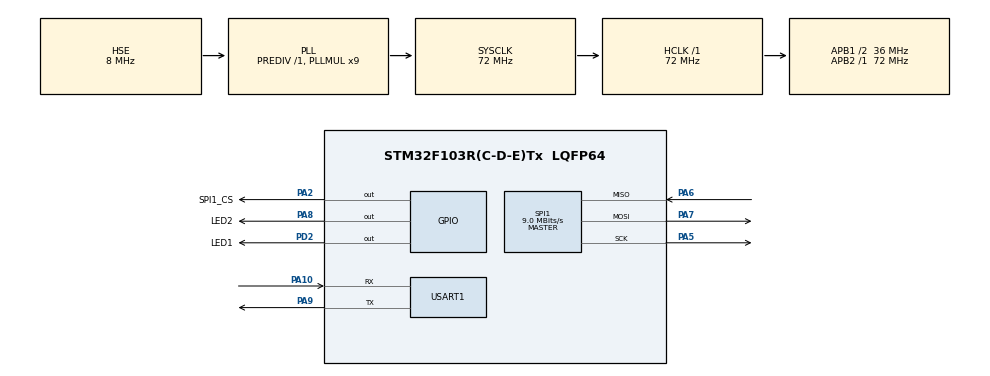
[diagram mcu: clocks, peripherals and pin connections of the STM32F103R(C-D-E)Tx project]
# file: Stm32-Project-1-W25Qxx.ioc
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Mcu.Family=STM32F1
Mcu.Name=STM32F103R(C-D-E)Tx
Mcu.Package=LQFP64
NVIC.PriorityGroup=NVIC_PRIORITYGROUP_4
PA10.Mode=Asynchronous
PA10.Signal=USART1_RX
PA13.Mode=Serial_Wire
PA13.Signal=SYS_JTMS-SWDIO
PA14.Mode=Serial_Wire
PA14.Signal=SYS_JTCK-SWCLK
PA2.GPIO_Label=SPI1_CS
PA2.GPIO_PuPd=GPIO_PULLUP
PA2.GPIO_Speed=GPIO_SPEED_FREQ_HIGH
PA2.Signal=GPIO_Output
PA5.Mode=Full_Duplex_Master
PA5.Signal=SPI1_SCK
PA6.Mode=Full_Duplex_Master
PA6.Signal=SPI1_MISO
PA7.Mode=Full_Duplex_Master
PA7.Signal=SPI1_MOSI
PA8.GPIO_Label=LED2
PA8.GPIO_PuPd=GPIO_PULLUP
PA8.GPIO_Speed=GPIO_SPEED_FREQ_HIGH
PA8.PinState=GPIO_PIN_SET
PA8.Signal=GPIO_Output
PA9.Mode=Asynchronous
PA9.Signal=USART1_TX
PD0-OSC_IN.Mode=HSE-External-Oscillator
PD0-OSC_IN.Signal=RCC_OSC_IN
PD1-OSC_OUT.Mode=HSE-External-Oscillator
PD1-OSC_OUT.Signal=RCC_OSC_OUT
PD2.GPIO_Label=LED1
PD2.GPIO_PuPd=GPIO_PULLUP
PD2.GPIO_Speed=GPIO_SPEED_FREQ_HIGH
PD2.PinState=GPIO_PIN_SET
PD2.Signal=GPIO_Output
ProjectManager.HeapSize=0x200
ProjectManager.StackSize=0x400
ProjectManager.TargetToolchain=MDK-ARM V5.32
RCC.AHBFreq_Value=72000000
RCC.APB1CLKDivider=RCC_HCLK_DIV2
RCC.APB1Freq_Value=36000000
RCC.APB1TimFreq_Value=72000000
RCC.APB2Freq_Value=72000000
RCC.APB2TimFreq_Value=72000000
RCC.HCLKFreq_Value=72000000
RCC.PLLMUL=RCC_PLL_MUL9
RCC.PLLSourceVirtual=RCC_PLLSOURCE_HSE
RCC.SYSCLKFreq_VALUE=72000000
RCC.SYSCLKSource=RCC_SYSCLKSOURCE_PLLCLK
RCC.USBFreq_Value=72000000
SPI1.BaudRatePrescaler=SPI_BAUDRATEPRESCALER_8
SPI1.CalculateBaudRate=9.0 MBits/s
SPI1.Direction=SPI_DIRECTION_2LINES
SPI1.Mode=SPI_MODE_MASTER
SPI1.VirtualType=VM_MASTER
TIM7.Prescaler=71
USART1.VirtualMode=VM_ASYNC
VP_TIM7_VS_ClockSourceINT.Mode=Enable_Timer
board=custom

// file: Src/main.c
/* USER CODE BEGIN Header */
/**
  ******************************************************************************
  * @file           : main.c
  * @brief          : Main program body
  ******************************************************************************
  * @attention
  *
  * Copyright (c) 2023 STMicroelectronics.
  * All rights reserved.
  *
  * This software is licensed under terms that can be found in the LICENSE file
  * in the root directory of this software component.
  * If no LICENSE file comes with this software, it is provided AS-IS.
  *
  ******************************************************************************
  */
/* USER CODE END Header */
#include "main.h"
#include "spi.h"
#include "tim.h"
#include "usart.h"
#include "gpio.h"

/* USER CODE BEGIN Includes */
#include "W25QXX.h"
#include "stdio.h"
#include "string.h"
/* USER CODE END Includes */

/* USER CODE BEGIN PV */
//char ss[1000]="";
unsigned char ID[2];
uint8_t rData[300]={0};
uint8_t wData[300]={0};
uint16_t i=0;
/* USER CODE END PV */

void SystemClock_Config(void);

/* USER CODE BEGIN 0 */
int fputc(int ch,FILE *f)
{
	HAL_UART_Transmit(&huart1,(uint8_t *) &ch,1,0xfff);
	return ch;
}
/* USER CODE END 0 */

int main(void)
{

  /* MCU Configuration--------------------------------------------------------*/

  /* Reset of all peripherals, Initializes the Flash interface and the Systick. */
  HAL_Init();

  /* Configure the system clock */
  SystemClock_Config();

  /* Initialize all configured peripherals */
  MX_GPIO_Init();
  MX_SPI1_Init();
  MX_TIM7_Init();
  MX_USART1_UART_Init();
  /* USER CODE BEGIN 2 */
	TestW25D16ReadWrite();
  /* USER CODE END 2 */

  /* Infinite loop */
  while (1)
  {

  }
}

void SystemClock_Config(void)
{
  RCC_OscInitTypeDef RCC_OscInitStruct = {0};
  RCC_ClkInitTypeDef RCC_ClkInitStruct = {0};

  /** Initializes the RCC Oscillators according to the specified parameters
  * in the RCC_OscInitTypeDef structure.
  */
  RCC_OscInitStruct.OscillatorType = RCC_OSCILLATORTYPE_HSE;
  RCC_OscInitStruct.HSEState = RCC_HSE_ON;
  RCC_OscInitStruct.HSEPredivValue = RCC_HSE_PREDIV_DIV1;
  RCC_OscInitStruct.HSIState = RCC_HSI_ON;
  RCC_OscInitStruct.PLL.PLLState = RCC_PLL_ON;
  RCC_OscInitStruct.PLL.PLLSource = RCC_PLLSOURCE_HSE;
  RCC_OscInitStruct.PLL.PLLMUL = RCC_PLL_MUL9;
  if (HAL_RCC_OscConfig(&RCC_OscInitStruct) != HAL_OK)
  {
    Error_Handler();
  }

  /** Initializes the CPU, AHB and APB buses clocks
  */
  RCC_ClkInitStruct.ClockType = RCC_CLOCKTYPE_HCLK|RCC_CLOCKTYPE_SYSCLK
                              |RCC_CLOCKTYPE_PCLK1|RCC_CLOCKTYPE_PCLK2;
  RCC_ClkInitStruct.SYSCLKSource = RCC_SYSCLKSOURCE_PLLCLK;
  RCC_ClkInitStruct.AHBCLKDivider = RCC_SYSCLK_DIV1;
  RCC_ClkInitStruct.APB1CLKDivider = RCC_HCLK_DIV2;
  RCC_ClkInitStruct.APB2CLKDivider = RCC_HCLK_DIV1;

  if (HAL_RCC_ClockConfig(&RCC_ClkInitStruct, FLASH_LATENCY_2) != HAL_OK)
  {
    Error_Handler();
  }
}

/* USER CODE BEGIN 4 */
void TestW25D16ReadWrite(void)
{
	printf("\r\n222154101127-plj\r\n");
	printf("\r\n SPI-W25Xxxx Example \r\n\r\n");
//	HAL_UART_Transmit(&huart1,(uint8_t *)ss,strlen(ss),0xff);
	/*##-1- Read the device ID ##############################*/
	BSP_W25Qx_Init();
	BSP_W25Qx_Read_ID(ID);
	printf("W25Xxxx ID is : 0x%02X  0x%02X\r\n\r\n",ID[0],ID[1]);
//	HAL_UART_Transmit(&huart1,(uint8_t *)ss,strlen(ss),0xff);
	/*##-2- Erase Block ###################################*/
	if(BSP_W25Qx_Erase_Block(0) == W25Qx_OK)
	{
		printf(" SPI Erase Block ok\r\n");
	}
	else
		Error_Handler();
	/*##-3- Written to the flash ############################*/
	/* fill buffer */
	for(i=0;i<0x100;i++)
	{
		wData[i] = i;
		rData[i] = 0;
	}
	if(BSP_W25Qx_Write(wData,0x00,0x100)== W25Qx_OK)
	{
		printf("SPI Write ok\r\n");
	}
	else
		Error_Handler();
	/*##-4- Read the flash ############################*/
	if(BSP_W25Qx_Read(rData,0x00,0x100)== W25Qx_OK)
	{
		printf("SPI Read ok\r\n");
	}
	else
		Error_Handler();
	printf("SPI Read Data: \r\n");
	for(i=0;i<0x100;i++)
	{
		printf("0x%02X ",rData[i]);
	}
	printf("\r\n\r\n");
	/*##-5- check date #################################*/
	if(memcmp(wData,rData,0x100) == 0)
	{
		printf("W25X16 SPI Test OK\r\n");
	}
	else
		printf("W25X16 SPI Test False\r\n");
}
/* USER CODE END 4 */

void Error_Handler(void)
{
  __disable_irq();
  while (1)
  {
  }
}
